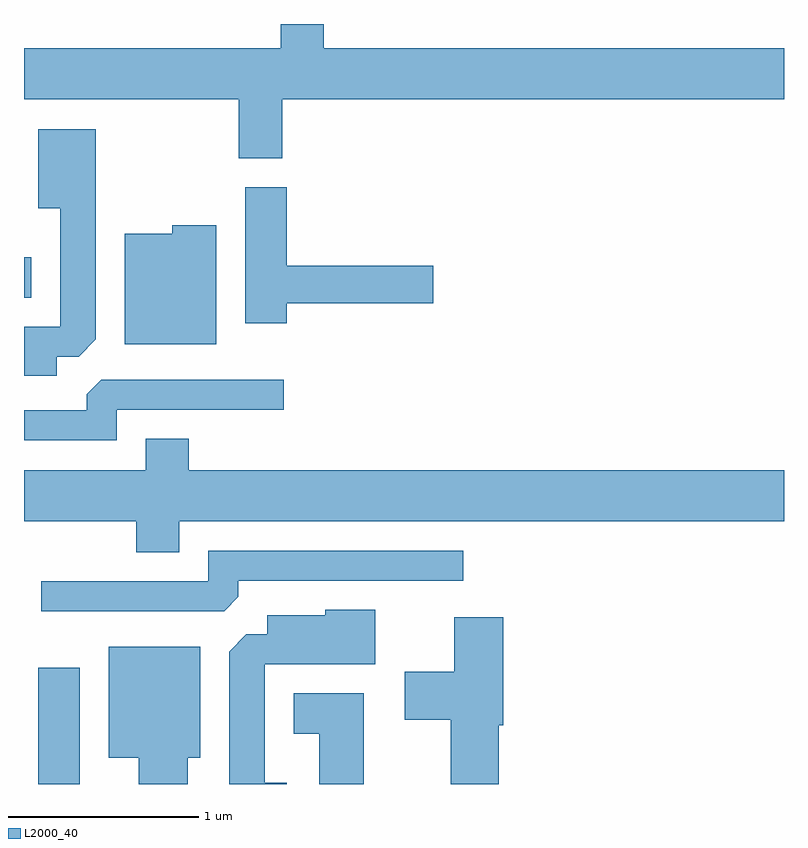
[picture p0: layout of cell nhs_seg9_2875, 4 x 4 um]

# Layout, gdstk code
import gdstk
lib = gdstk.Library(unit=1e-6, precision=1e-09)
def R(c, l, rs):  # rectangles x0, y0, x1, y1
    for r in rs: c.add(gdstk.rectangle(r[:2], r[2:], *l))
def P(c, l, *ps):  # polygons
    for p in ps: c.add(gdstk.Polygon(p, *l))
L2000_40 = (2000, 40)

nhs_seg9_2875 = lib.new_cell('nhs_seg9_2875')
R(nhs_seg9_2875, L2000_40, [(269.686,1990.432,269.904,1991.044), (269.611,1992.991,269.649,1993.204)])
P(nhs_seg9_2875, L2000_40, [(270.969,1994.036),(273.611,1994.036),(273.611,1994.304),(271.189,1994.304),(271.189,1994.432),(270.961,1994.432),(270.961,1994.304),(269.611,1994.304),(269.611,1994.036),(270.741,1994.036),(270.741,1993.726),(270.969,1993.726)],
  [(269.784,1992.681),(269.899,1992.681),(269.989,1992.772),(269.989,1993.879),(269.686,1993.879),(269.686,1993.461),(269.801,1993.461),(269.801,1992.839),(269.611,1992.839),(269.611,1992.581),(269.784,1992.581)],
  [(270.994,1992.961),(271.764,1992.961),(271.764,1993.159),(270.994,1993.159),(270.994,1993.574),(270.776,1993.574),(270.776,1992.856),(270.994,1992.856)],
  [(270.624,1993.374),(270.391,1993.374),(270.391,1993.329),(270.141,1993.329),(270.141,1992.746),(270.624,1992.746)],
  [(270.099,1992.401),(270.978,1992.401),(270.978,1992.559),(270.017,1992.559),(269.941,1992.484),(269.941,1992.399),(269.611,1992.399),(269.611,1992.241),(270.099,1992.241)],
  [(270.429,1991.816),(273.611,1991.816),(273.611,1992.084),(270.479,1992.084),(270.479,1992.249),(270.251,1992.249),(270.251,1992.084),(269.611,1992.084),(269.611,1991.816),(270.201,1991.816),(270.201,1991.651),(270.429,1991.651)],
  [(270.739,1991.417),(270.739,1991.501),(271.923,1991.501),(271.923,1991.659),(270.581,1991.659),(270.581,1991.499),(269.703,1991.499),(269.703,1991.341),(270.664,1991.341)],
  [(270.994,1990.439),(270.879,1990.439),(270.879,1991.061),(271.459,1991.061),(271.459,1991.349),(271.196,1991.349),(271.196,1991.319),(270.891,1991.319),(270.891,1991.219),(270.782,1991.219),(270.691,1991.129),(270.691,1990.432),(270.994,1990.432)],
  [(272.109,1990.741),(272.134,1990.741),(272.134,1991.309),(271.876,1991.309),(271.876,1991.024),(271.616,1991.024),(271.616,1990.771),(271.856,1990.771),(271.856,1990.432),(272.109,1990.432)],
  [(270.474,1990.571),(270.539,1990.571),(270.539,1991.154),(270.056,1991.154),(270.056,1990.571),(270.216,1990.571),(270.216,1990.432),(270.474,1990.432)],
  [(271.399,1990.909),(271.031,1990.909),(271.031,1990.696),(271.166,1990.696),(271.166,1990.432),(271.399,1990.432)])

lib.write_gds('nhs_seg9_2875.gds')
